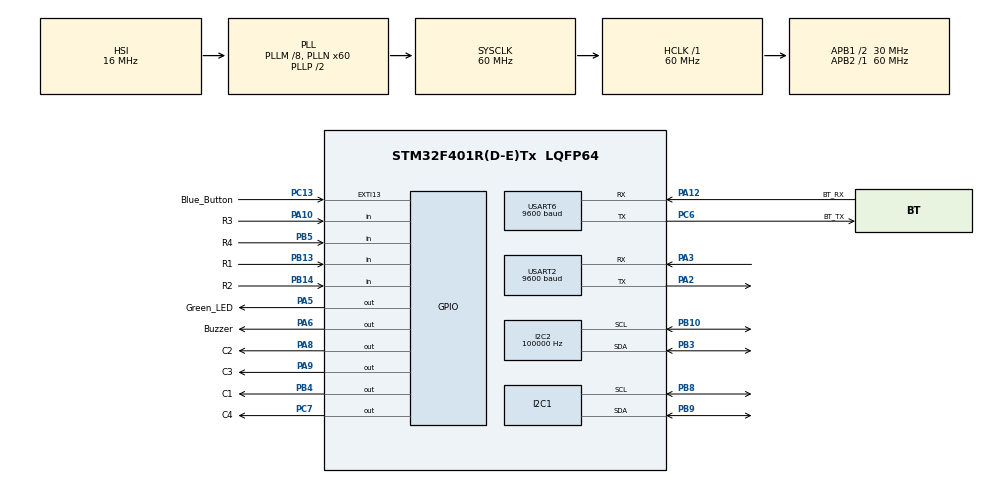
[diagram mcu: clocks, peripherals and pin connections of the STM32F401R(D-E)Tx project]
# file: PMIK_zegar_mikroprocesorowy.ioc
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I2C2.ClockSpeed=100000
Mcu.Family=STM32F4
Mcu.Name=STM32F401R(D-E)Tx
Mcu.Package=LQFP64
NVIC.EXTI15_10_IRQn=true\:0\:0\:false\:false\:true\:true\:true
NVIC.PriorityGroup=NVIC_PRIORITYGROUP_4
NVIC.RTC_Alarm_IRQn=true\:0\:0\:false\:false\:true\:true\:true
NVIC.RTC_WKUP_IRQn=true\:0\:0\:false\:false\:true\:true\:true
NVIC.TIM1_BRK_TIM9_IRQn=true\:0\:0\:false\:false\:true\:true\:true
NVIC.TIM1_TRG_COM_TIM11_IRQn=true\:0\:0\:false\:false\:true\:true\:true
NVIC.TIM1_UP_TIM10_IRQn=true\:0\:0\:false\:false\:true\:true\:true
NVIC.USART2_IRQn=true\:0\:0\:false\:false\:true\:true\:true
NVIC.USART6_IRQn=true\:0\:0\:false\:false\:true\:true\:true
PA0-WKUP.GPIO_Label=WakeUp_PIN
PA0-WKUP.Mode=SYS_WakeUp0
PA0-WKUP.Signal=SYS_WKUP
PA10.GPIO_Label=R3
PA10.GPIO_PuPd=GPIO_PULLDOWN
PA10.Signal=GPIO_Input
PA12.GPIO_Label=BT_RX
PA12.Mode=Asynchronous
PA12.Signal=USART6_RX
PA2.GPIO_Speed=GPIO_SPEED_FREQ_MEDIUM
PA2.Mode=Asynchronous
PA2.Signal=USART2_TX
PA3.GPIO_Speed=GPIO_SPEED_FREQ_MEDIUM
PA3.Mode=Asynchronous
PA3.Signal=USART2_RX
PA5.GPIO_Label=Green_LED
PA5.PinState=GPIO_PIN_SET
PA5.Signal=GPIO_Output
PA6.GPIO_Label=Buzzer
PA6.GPIO_ModeDefaultOutputPP=GPIO_MODE_OUTPUT_PP
PA6.GPIO_PuPd=GPIO_NOPULL
PA6.GPIO_Speed=GPIO_SPEED_FREQ_LOW
PA6.PinState=GPIO_PIN_SET
PA6.Signal=GPIO_Output
PA8.GPIO_Label=C2
PA8.Signal=GPIO_Output
PA9.GPIO_Label=C3
PA9.Signal=GPIO_Output
PB10.GPIO_PuPdOD=GPIO_PULLUP
PB10.GPIO_Speed=GPIO_SPEED_FREQ_VERY_HIGH
PB10.Mode=I2C
PB10.Signal=I2C2_SCL
PB13.GPIO_Label=R1
PB13.GPIO_PuPd=GPIO_PULLDOWN
PB13.Signal=GPIO_Input
PB14.GPIO_Label=R2
PB14.GPIO_PuPd=GPIO_PULLDOWN
PB14.Signal=GPIO_Input
PB3.GPIO_PuPdOD=GPIO_PULLUP
PB3.GPIO_Speed=GPIO_SPEED_FREQ_VERY_HIGH
PB3.Mode=I2C
PB3.Signal=I2C2_SDA
PB4.GPIO_Label=C1
PB4.Signal=GPIO_Output
PB5.GPIO_Label=R4
PB5.GPIO_PuPd=GPIO_PULLDOWN
PB5.Signal=GPIO_Input
PB8.GPIO_Mode=GPIO_MODE_AF_OD
PB8.GPIO_PuPdOD=GPIO_NOPULL
PB8.GPIO_Speed=GPIO_SPEED_FREQ_VERY_HIGH
PB8.Mode=I2C
PB8.Signal=I2C1_SCL
PB9.GPIO_Mode=GPIO_MODE_AF_OD
PB9.GPIO_PuPdOD=GPIO_NOPULL
PB9.GPIO_Speed=GPIO_SPEED_FREQ_VERY_HIGH
PB9.Mode=I2C
PB9.Signal=I2C1_SDA
PC13-ANTI_TAMP.GPIO_Label=Blue_Button
PC13-ANTI_TAMP.GPIO_ModeDefaultEXTI=GPIO_MODE_IT_FALLING
PC13-ANTI_TAMP.GPIO_PuPd=GPIO_NOPULL
PC13-ANTI_TAMP.Signal=GPXTI13
PC6.GPIO_Label=BT_TX
PC6.Mode=Asynchronous
PC6.Signal=USART6_TX
PC7.GPIO_Label=C4
PC7.Signal=GPIO_Output
ProjectManager.HeapSize=0x200
ProjectManager.StackSize=0x400
ProjectManager.TargetToolchain=STM32CubeIDE
RCC.48MHZClocksFreq_Value=30000000
RCC.AHBFreq_Value=60000000
RCC.APB1CLKDivider=RCC_HCLK_DIV2
RCC.APB1Freq_Value=30000000
RCC.APB1TimFreq_Value=60000000
RCC.APB2Freq_Value=60000000
RCC.APB2TimFreq_Value=60000000
RCC.CortexFreq_Value=60000000
RCC.HCLKFreq_Value=60000000
RCC.HSE_VALUE=25000000
RCC.HSI_VALUE=16000000
RCC.LSE_VALUE=32768
RCC.PLLM=8
RCC.PLLN=60
RCC.SYSCLKFreq_VALUE=60000000
RCC.SYSCLKSource=RCC_SYSCLKSOURCE_PLLCLK
RCC.VCOOutputFreq_Value=120000000
RTC.Alarm=RTC_ALARM_A
RTC.AlarmDateWeekDay=12
RTC.Date=24
RTC.Hours=0
RTC.Hours_A=19
RTC.Minutes=46
RTC.Minutes_A=23
RTC.Month=RTC_MONTH_OCTOBER
RTC.Seconds=45
RTC.Seconds_A=10
RTC.WakeUpClock=RTC_WAKEUPCLOCK_RTCCLK_DIV16
RTC.WakeUpCounter=5
RTC.WeekDay=RTC_WEEKDAY_TUESDAY
RTC.Year=20
TIM1.Period=1000
TIM1.Prescaler=60000
USART2.BaudRate=9600
USART2.VirtualMode=VM_ASYNC
USART6.BaudRate=9600
USART6.VirtualMode=VM_ASYNC
VP_RTC_VS_RTC_Activate.Mode=RTC_Enabled
VP_RTC_VS_RTC_Alarm_A_Intern.Mode=Alarm A
VP_RTC_VS_RTC_Calendar.Mode=RTC_Calendar
VP_RTC_VS_RTC_WakeUp_intern.Mode=WakeUp
VP_TIM1_VS_ClockSourceINT.Mode=Internal
board=custom

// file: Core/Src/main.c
/* USER CODE BEGIN Header */

/** Projekt zegara mikroprocesorowego zrealizowanego na płytce Nucleo F401RE.
 * Układ posiada możliwość wyświetlania czasu, daty oraz dnia tygodnia na wyświetlaczu LCD HD44780.
 * Wyświetlacz podłączony jest do płytki za pomocą interfejsu I2C.
 * Dodatkowo układ posiada moduł RTC czasu rzeczywistego,
 * dzięki któremu możliwe jest zapamiętanie aktualnego czasu i daty, nawet po wyłączeniu zasilania mikroprocesora.
 * Za pomocą klawiatury w komputerze, użtykownik jest w stanie zmienić czas, datę lub nastawić alarm.
 * Komunikacja ta odbywa się za pomocą intefejsu USART.
 */

/* USER CODE END Header */
#include "main.h"
#include "i2c.h"
#include "rtc.h"
#include "tim.h"
#include "usart.h"
#include "gpio.h"

/* USER CODE BEGIN Includes */

#include <stdio.h>
#include <string.h>
#include "lcd_i2c.h"
#include "time.h"
#include "alarm.h"
#include "standby.h"
#include <stdbool.h>
#include <stdbool.h>

/* USER CODE END Includes */

void SystemClock_Config(void);

/* USER CODE BEGIN 0 */
uint8_t uart_rx_data;
uint8_t BT_rx_data;

uint8_t i, is_BT_rx_complete;
char BT_rx_string[2];
int BT_rx_int, BT_array_max_size, is_BT_data_valid;

uint8_t alarm_flag;
/* USER CODE END 0 */

int main(void)
{

  /* MCU Configuration--------------------------------------------------------*/

  /* Reset of all peripherals, Initializes the Flash interface and the Systick. */
  HAL_Init();

  /* Configure the system clock */
  SystemClock_Config();

  /* Initialize all configured peripherals */
  MX_GPIO_Init();
  MX_I2C1_Init();
  MX_RTC_Init();
  MX_USART2_UART_Init();
  MX_I2C2_Init();
  MX_TIM1_Init();
  MX_USART6_UART_Init();
  /* USER CODE BEGIN 2 */

  HAL_GPIO_WritePin(Buzzer_GPIO_Port, Buzzer_Pin, GPIO_PIN_RESET);
  HAL_GPIO_WritePin(Green_LED_GPIO_Port, Green_LED_Pin, GPIO_PIN_RESET);

  /****************** LCD BEGIN ******************/
  lcd_init();
  /****************** LCD END ******************/

  /**
   * Wpisanie do rejestru RTC, czasu i daty pobranych z modułu RTC, aby czas w RTC był aktualny
   */
  rtc_set_time();

  /****************** UART BEGIN ******************/
  /**
   * Funkcja odpowiedzialna za odbiór jednego znaku z uart2 w trybie przerwaniowym, i zapisanie go w zmiennej uart_rx_data.
   * Po odebraniu znaku, nastąpi przerwanie które zostanie obsłużone przez funkcję callback HAL_UART_RxCpltCallback.
   */
  HAL_UART_Receive_IT(&huart2, &uart_rx_data, 1);
  HAL_UART_Receive_IT(&huart6, &BT_rx_data, 1);
  /****************** UART END ******************/

  /****************** TIMER BEGIN ******************/
  HAL_TIM_Base_Start_IT(&htim1);
  /****************** TIMER END ******************/

  /* USER CODE END 2 */

  /* Infinite loop */
	while (1) {

    /* USER CODE BEGIN 3 */

		to_do_after_wake_up_from_standby();

		to_do_before_going_to_standby();

		go_to_standby();
	}
  /* USER CODE END 3 */
}

void SystemClock_Config(void)
{
  RCC_OscInitTypeDef RCC_OscInitStruct = {0};
  RCC_ClkInitTypeDef RCC_ClkInitStruct = {0};
  RCC_PeriphCLKInitTypeDef PeriphClkInitStruct = {0};

  /** Configure the main internal regulator output voltage
  */
  __HAL_RCC_PWR_CLK_ENABLE();
  __HAL_PWR_VOLTAGESCALING_CONFIG(PWR_REGULATOR_VOLTAGE_SCALE2);
  /** Initializes the RCC Oscillators according to the specified parameters
  * in the RCC_OscInitTypeDef structure.
  */
  RCC_OscInitStruct.OscillatorType = RCC_OSCILLATORTYPE_HSI|RCC_OSCILLATORTYPE_LSI;
  RCC_OscInitStruct.HSIState = RCC_HSI_ON;
  RCC_OscInitStruct.HSICalibrationValue = RCC_HSICALIBRATION_DEFAULT;
  RCC_OscInitStruct.LSIState = RCC_LSI_ON;
  RCC_OscInitStruct.PLL.PLLState = RCC_PLL_ON;
  RCC_OscInitStruct.PLL.PLLSource = RCC_PLLSOURCE_HSI;
  RCC_OscInitStruct.PLL.PLLM = 8;
  RCC_OscInitStruct.PLL.PLLN = 60;
  RCC_OscInitStruct.PLL.PLLP = RCC_PLLP_DIV2;
  RCC_OscInitStruct.PLL.PLLQ = 4;
  if (HAL_RCC_OscConfig(&RCC_OscInitStruct) != HAL_OK)
  {
    Error_Handler();
  }
  /** Initializes the CPU, AHB and APB buses clocks
  */
  RCC_ClkInitStruct.ClockType = RCC_CLOCKTYPE_HCLK|RCC_CLOCKTYPE_SYSCLK
                              |RCC_CLOCKTYPE_PCLK1|RCC_CLOCKTYPE_PCLK2;
  RCC_ClkInitStruct.SYSCLKSource = RCC_SYSCLKSOURCE_PLLCLK;
  RCC_ClkInitStruct.AHBCLKDivider = RCC_SYSCLK_DIV1;
  RCC_ClkInitStruct.APB1CLKDivider = RCC_HCLK_DIV2;
  RCC_ClkInitStruct.APB2CLKDivider = RCC_HCLK_DIV1;

  if (HAL_RCC_ClockConfig(&RCC_ClkInitStruct, FLASH_LATENCY_1) != HAL_OK)
  {
    Error_Handler();
  }
  PeriphClkInitStruct.PeriphClockSelection = RCC_PERIPHCLK_RTC;
  PeriphClkInitStruct.RTCClockSelection = RCC_RTCCLKSOURCE_LSI;
  if (HAL_RCCEx_PeriphCLKConfig(&PeriphClkInitStruct) != HAL_OK)
  {
    Error_Handler();
  }
}

/* USER CODE BEGIN 4 */

/**
 * Funkcja odpowiedzialna za obsługę przerwania spowodowanego odebraniem danych na UART2
 */
void HAL_UART_RxCpltCallback(UART_HandleTypeDef *huart) {

	/**
	 * Musimy sprawdzić czy przerwanie wywołał uart2, a nie coś innego
	 */
	if (huart->Instance == USART2) {

		activate_time();
		activate_date();
		activate_alarm();

		/**
		 * Po odebraniu danych, nasłuchuj ponownie na kolejne znaki
		 */
		HAL_UART_Receive_IT(&huart2, &uart_rx_data, 1);
	}
	else if (huart->Instance == USART6) {

		is_BT_rx_complete = 0;

		if( (BT_rx_data == 'e') && (BT_array_max_size > 0 && BT_array_max_size <= 2) && (is_BT_data_valid == 1)) {

			if(BT_array_max_size == 1) {

				uart_rx_data = BT_rx_string[0];
			}
			else if(BT_array_max_size == 2) {

				uart_rx_data = BT_rx_int;
			}

			i = 0;
			BT_array_max_size = 0;
			is_BT_data_valid = 0;
			is_BT_rx_complete = 1;
		}
		else if (BT_rx_data == 'q') {

			HAL_GPIO_WritePin(Buzzer_GPIO_Port, Buzzer_Pin, GPIO_PIN_RESET);
			alarm_flag = 0;
		}
		else {

			if(BT_rx_data == 't' || BT_rx_data == 'd' || BT_rx_data == 'a' || BT_rx_data == 'T' || BT_rx_data == 'D' || BT_rx_data == 'A') {

				BT_rx_string[0] = BT_rx_data;

				BT_array_max_size = 1;
				is_BT_data_valid = 1;
			}
			else if(BT_rx_data != 'e' && BT_rx_data >= 0) {

				BT_rx_string[i] = BT_rx_data - 48;

				i = i + 1;
				BT_array_max_size = i;

				if(i == 2) {

					char temp_string[2];
					char left_part[2], right_part[2];

					sprintf(left_part, "%d", BT_rx_string[0]);	/** np. 1 */
					sprintf(right_part, "%d", BT_rx_string[1]);	/** np. 2 */
					strcat(left_part, right_part);	/** dołączenie right_part na koniec left_part (left_part = 12) */

					strcpy(temp_string, left_part);	/** przekopiowanie left_part do temp_string. (temp_string = 12) */

					BT_rx_int = atoi(temp_string);	/** BT_rx_int = 12 */

					i = 0;
				}

				is_BT_data_valid = 1;
			}
		}

		if(is_BT_rx_complete == 1) {

			activate_time();
			activate_date();
			activate_alarm();
		}

		/**
		 * Po odebraniu danych, nasłuchuj ponownie na kolejne znaki
		 */
		HAL_UART_Receive_IT(&huart6, &BT_rx_data, 1);
	}
}

/* USER CODE END 4 */

void Error_Handler(void)
{
}

/************************ (C) COPYRIGHT STMicroelectronics *****END OF FILE****/
